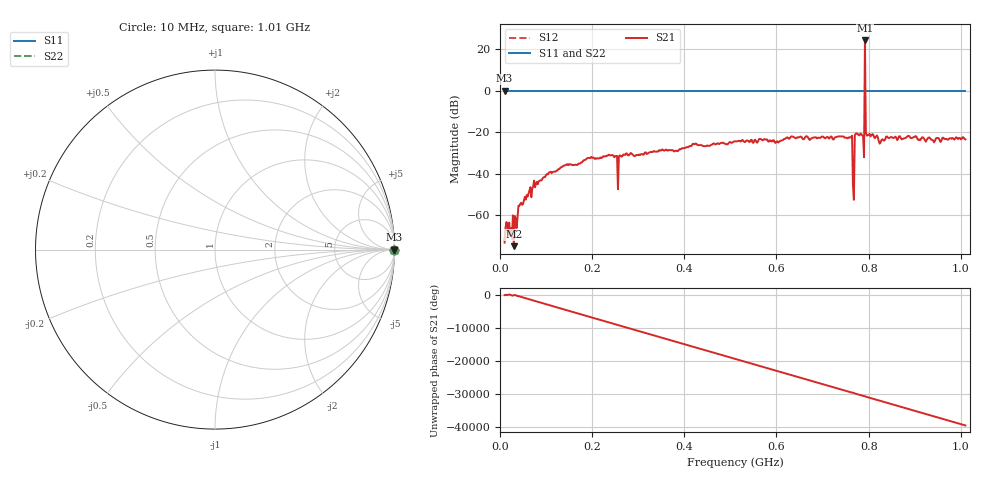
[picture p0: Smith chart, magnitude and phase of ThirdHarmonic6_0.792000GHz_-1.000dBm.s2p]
! 8/16/2025 2:25:50 AM
! C:\ANRITSUVNA\TEMP\TEMP.S2P
! CHANNEL.1
! TR.MEASUREMENT
! RAW.DATA
! RF.CORRECTION.OFF
! AVERAGING.OFF
! IF.BANDWIDTH: 5KHZ
! SWEEPTYPE:  FREQ.SWEEP(Linear)
! Reference Plane Port Info
! PORT:  PORT1  PORT2
! DISTANCE:  0  m  0  m
! TIME:  0  s  0  s
! PHASE.OFFSET:  0  deg.  0  deg.
! LOSS:  0  dB  0  dB
! REF.LOSS:  0  dB  0  dB
! REF.FREQ:  0  Hz  0  Hz
! Power Info
! POWER:  -20  dBm  -20  dBm
! EFF.POWER:  -20  dBm  -20  dBm
! SOURCE.ATTEN:  0  dB  0  dB
! TEST.ATTEN:  0  dB  0  dB
# GHZ S RI R 50.0
! FREQ.GHZ  S11RE  S11IM  S21RE  S21IM  S12RE  S12IM  S22RE  S22IM
!; PortSelection: Port_12
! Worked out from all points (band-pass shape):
!   501 points, 10 MHz to 1.01 GHz, reference 50 ohm
!   highest |S21| = 24.28 dB at 792 MHz (marker M1); lowest = -75.0 dB at 30 MHz (marker M2)
!   |S21| within 3 dB of the highest: 791.8935 MHz to 792.1349 MHz (241.4 kHz wide, 0.0305 % of centre)
!   lowest |S11| = 0.0 dB at 10 MHz (marker M3)
!   |S11| at or under -10 dB: nowhere
!   |S22| runs from 0.0 to 0.0 dB; largest |S21 - S12| = 15
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0.01  1 0  0.000205 -7.41e-05  1 0  1 0
0.016  1 0  0.000566 -2.79e-05  1 0  1 0
0.03  1 0  0.000147 -0.000101  1 0  1 0
0.044  1 0  -0.00112 -0.00151  1 0  1 0
0.076  1 0  0.0047 0.000176  1 0  1 0
0.178  1 0  -0.0187 -0.00291  1 0  1 0
0.24  1 0  -0.0265 -0.00783  1 0  1 0
0.26  1 0  -0.011 0.0253  1 0  1 0
0.344  1 0  0.0333 -0.0117  1 0  1 0
0.51  1 0  -0.0438 0.0417  1 0  1 0
0.678  1 0  -0.0679 -0.0272  1 0  1 0
0.76  1 0  -0.0513 0.0543  1 0  1 0
0.764  1 0  0.0774 -0.0295  1 0  1 0
0.77  1 0  0.00425 0.0843  1 0  1 0
0.774  1 0  0.0216 -0.0917  1 0  1 0
0.786  1 0  -0.0744 0.039  1 0  1 0
0.788  1 0  0.0202 0.0786  1 0  1 0
0.792  1 0  15.76 -4.45  1 0  1 0
0.796  1 0  -0.0267 0.0783  1 0  1 0
0.798  1 0  0.0734 0.0423  1 0  1 0
0.844  1 0  0.0675 -0.0253  1 0  1 0
1.01  1 0  -0.0403 0.054  1 0  1 0
